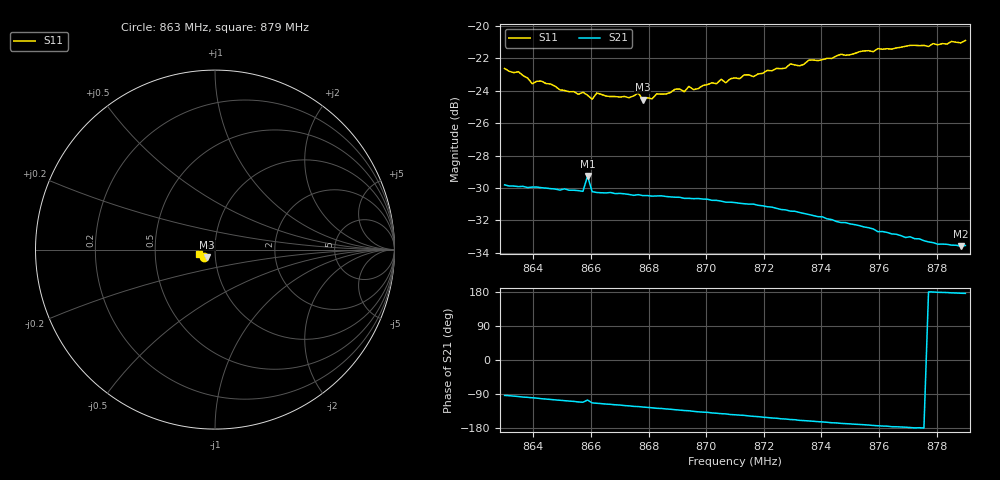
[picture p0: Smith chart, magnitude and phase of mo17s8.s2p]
# HZ S RI R 50
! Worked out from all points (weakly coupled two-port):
!   101 points, 863 MHz to 879 MHz, reference 50 ohm
!   highest |S21| = -29.26 dB at 865.88 MHz (marker M1); lowest = -33.6 dB at 878.84 MHz (marker M2)
!   lowest |S11| = -24.5 dB at 867.8 MHz (marker M3), VSWR 1.13, Z = 45.7 - j3.73 ohm
!   |S11| at or under -10 dB: start of sweep to end of sweep
!   S12 and S22 are empty: the file has one direction only
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8.63e8  -0.0613 -0.0413  -0.00191 -0.0323  0 0  0 0
8.6348e8  -0.0585 -0.0424  -0.00357 -0.0317  0 0  0 0
8.6396e8  -0.054 -0.0385  -0.00537 -0.0314  0 0  0 0
8.6428e8  -0.0544 -0.0401  -0.00667 -0.031  0 0  0 0
8.6492e8  -0.0507 -0.0383  -0.00873 -0.0299  0 0  0 0
8.6572e8  -0.0483 -0.0396  -0.0113 -0.0288  0 0  0 0
8.6588e8  -0.0402 -0.046  -0.0093 -0.0331  0 0  0 0
8.6604e8  -0.046 -0.0377  -0.0121 -0.0283  0 0  0 0
8.662e8  -0.0481 -0.0392  -0.0126 -0.0279  0 0  0 0
8.6732e8  -0.0446 -0.0402  -0.0156 -0.0259  0 0  0 0
8.6764e8  -0.045 -0.0428  -0.0164 -0.0253  0 0  0 0
8.678e8  -0.0431 -0.0407  -0.0168 -0.0248  0 0  0 0
8.6844e8  -0.0438 -0.0433  -0.0184 -0.0236  0 0  0 0
8.6972e8  -0.044 -0.0466  -0.0214 -0.0201  0 0  0 0
8.7052e8  -0.0478 -0.049  -0.0226 -0.0179  0 0  0 0
8.7068e8  -0.0459 -0.0485  -0.0226 -0.0175  0 0  0 0
8.71e8  -0.049 -0.0488  -0.0232 -0.0165  0 0  0 0
8.7164e8  -0.0492 -0.0495  -0.0241 -0.0147  0 0  0 0
8.7372e8  -0.0602 -0.0504  -0.0247 -0.00817  0 0  0 0
8.7644e8  -0.0744 -0.0407  -0.0228 -0.00158  0 0  0 0
8.7884e8  -0.0847 -0.0264  -0.0209 0.00139  0 0  0 0
8.79e8  -0.0867 -0.0251  -0.021 0.00152  0 0  0 0
